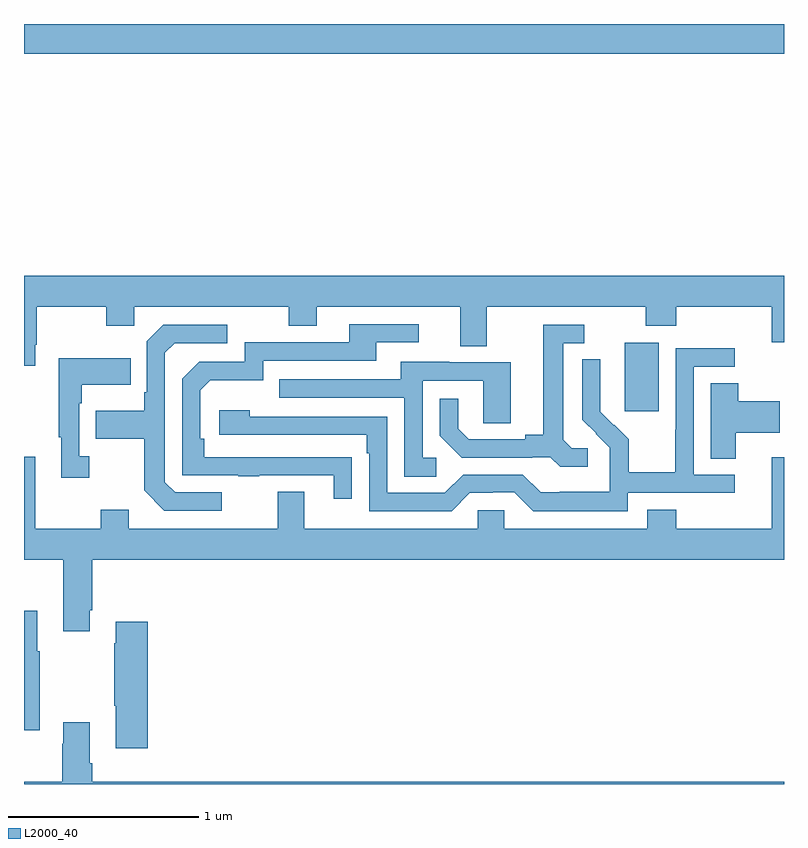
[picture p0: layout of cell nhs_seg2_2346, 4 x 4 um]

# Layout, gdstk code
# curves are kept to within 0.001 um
import gdstk
lib = gdstk.Library(unit=1e-6, precision=1e-09)
def R(c, l, rs):  # rectangles x0, y0, x1, y1
    for r in rs: c.add(gdstk.rectangle(r[:2], r[2:], *l))
def P(c, l, *ps):  # polygons
    for p in ps: c.add(gdstk.Polygon(p, *l))
L2000_40 = (2000, 40)

nhs_seg2_2346 = lib.new_cell('nhs_seg2_2346')
R(nhs_seg2_2346, L2000_40, [(236.162,637.761,236.341,638.122), (233,639.644,237,639.8)])
P(nhs_seg2_2346, L2000_40, [(233.059,638.113),(233.067,638.113),(233.067,638.312),(233.434,638.312),(233.434,638.213),(233.58,638.213),(233.58,638.312),(234.394,638.312),(234.394,638.213),(234.541,638.213),(234.541,638.312),(235.295,638.312),(235.295,638.104),(235.435,638.104),(235.435,638.312),(236.272,638.312),(236.272,638.213),(236.432,638.213),(236.432,638.312),(236.936,638.312),(236.936,638.124),(237,638.124),(237,638.476),(233,638.476),(233,638.001),(233.059,638.001)],
  [(234.725,637.52),(233.948,637.521),(233.948,637.618),(233.928,637.618),(233.928,637.872),(233.981,637.925),(234.258,637.925),(234.258,638.028),(234.853,638.028),(234.853,638.124),(235.078,638.124),(235.078,638.22),(234.713,638.22),(234.713,638.124),(234.162,638.124),(234.162,638.022),(233.922,638.022),(233.832,637.932),(233.832,637.425),(234.127,637.425),(234.127,637.42),(234.239,637.42),(234.239,637.425),(234.629,637.425),(234.629,637.302),(234.725,637.302)],
  [(234.04,637.335),(233.796,637.335),(233.742,637.389),(233.742,638.07),(233.793,638.121),(234.07,638.121),(234.07,638.217),(233.733,638.217),(233.646,638.13),(233.646,637.861),(233.634,637.861),(233.634,637.765),(233.377,637.765),(233.377,637.618),(233.634,637.618),(233.634,637.345),(233.739,637.239),(234.04,637.239)],
  [(235.966,637.566),(235.884,637.566),(235.837,637.613),(235.837,638.121),(235.948,638.121),(235.948,638.217),(235.733,638.217),(235.733,637.637),(235.637,637.637),(235.637,637.614),(235.342,637.614),(235.285,637.671),(235.285,637.828),(235.188,637.828),(235.188,637.634),(235.304,637.518),(235.676,637.518),(235.676,637.521),(235.77,637.521),(235.822,637.469),(235.966,637.469)],
  [(236.178,637.332),(236.74,637.332),(236.74,637.428),(236.526,637.428),(236.526,637.995),(236.74,637.995),(236.74,638.094),(236.43,638.094),(236.43,637.664),(236.428,637.664),(236.428,637.441),(236.183,637.441),(236.183,637.615),(236.106,637.692),(236.103,637.689),(236.033,637.76),(236.034,638.036),(235.938,638.036),(235.938,637.718),(236.084,637.57),(236.084,637.473),(236.082,637.473),(236.082,637.339),(235.819,637.339),(235.819,637.335),(235.719,637.335),(235.626,637.428),(235.311,637.428),(235.215,637.332),(234.912,637.332),(234.912,637.734),(234.188,637.734),(234.188,637.768),(234.027,637.768),(234.027,637.638),(234.803,637.638),(234.803,637.541),(234.816,637.541),(234.816,637.236),(235.251,637.236),(235.347,637.332),(235.466,637.332),(235.466,637.335),(235.581,637.335),(235.681,637.235),(236.178,637.235)],
  [(233.344,637.526),(233.292,637.526),(233.292,637.805),(233.305,637.805),(233.305,637.901),(233.561,637.901),(233.561,638.041),(233.184,638.041),(233.184,637.625),(233.195,637.625),(233.195,637.413),(233.344,637.413)],
  [(235.171,637.518),(235.098,637.518),(235.098,637.923),(235.416,637.923),(235.416,637.699),(235.561,637.699),(235.561,638.019),(235.237,638.019),(235.237,638.023),(234.983,638.023),(234.983,637.929),(234.343,637.929),(234.343,637.833),(235.002,637.833),(235.002,637.417),(235.171,637.417)],
  [(236.746,637.649),(236.977,637.649),(236.977,637.815),(236.759,637.815),(236.759,637.91),(236.615,637.91),(236.615,637.513),(236.746,637.513)],
  [(233.347,636.715),(233.36,636.715),(233.36,636.98),(237,636.98),(237,637.519),(236.936,637.519),(236.936,637.144),(236.432,637.144),(236.432,637.243),(236.279,637.243),(236.279,637.144),(235.527,637.144),(235.527,637.242),(235.389,637.242),(235.389,637.144),(234.475,637.144),(234.475,637.339),(234.335,637.339),(234.335,637.144),(233.551,637.144),(233.551,637.243),(233.404,637.243),(233.404,637.144),(233.059,637.144),(233.059,637.522),(233,637.522),(233,636.98),(233.207,636.98),(233.207,636.603),(233.347,636.603)],
  [(233.083,636.499),(233.071,636.499),(233.071,636.712),(233,636.712),(233,636.083),(233.083,636.083)],
  [(233.651,636.655),(233.483,636.655),(233.483,636.542),(233.476,636.542),(233.476,636.211),(233.483,636.211),(233.483,635.988),(233.651,635.988)],
  [(237,635.812),(233.36,635.812),(233.36,635.908),(233.347,635.908),(233.347,636.124),(233.207,636.124),(233.207,636.011),(233.2,636.011),(233.2,635.812),(233,635.812),(233,635.8),(237,635.8)])

lib.write_gds('nhs_seg2_2346.gds')
